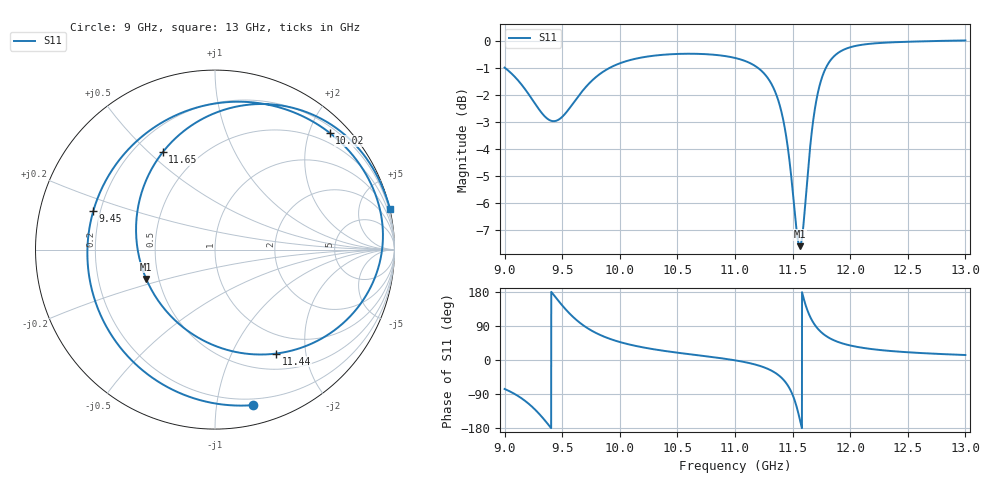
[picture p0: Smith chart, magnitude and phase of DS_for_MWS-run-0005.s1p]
! TOUCHSTONE file generated by CST DESIGN STUDIO
! Date and time: Tue Feb  4 17:51:52 2025
! Project name: C:\Work\MatlabApps\UnitCellOptimizationMatlab\CST\unitcell.cst
! Tree item: Tasks\Sweep1\SPara1\S-Parameters
! Header version: 2024
! Port assignment regex: !\s*Touchstone port\s*([0-9]+)\s*=\s*(CST MWS port|CST DES external port|CST DES block port)\s*(.+)\s* \(\"(.*)\"\)(\s*mode\s*([0-9]+))?.*
! Touchstone port assignment:
! Touchstone port 1 = CST DES external port 1 ("")
# GHz S MA R 50
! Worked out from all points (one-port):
!   4001 points, 9 GHz to 13 GHz, reference 50 ohm
!   lowest |S11| = -7.6 dB at 11.56 GHz (marker M1), VSWR 2.43, Z = 21.3 - j8.4 ohm
!   |S11| at or under -10 dB: nowhere
!   S11 on the Smith chart (normalised r, x): 9 GHz: 0.15, -1.26; 9.45 GHz: 0.17, +0.15; 10.02 GHz: 0.30, +2.35; 11.44 GHz: 0.71, -1.50; 11.65 GHz: 0.32, +0.55; 13 GHz: -0.04, +8.67
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9  0.8917 -76.4
9.128  0.839 -97.2
9.229  0.7847 -120.7
9.351  0.7235 -159.9
9.45  0.7113 162.6
9.5  0.723 144.0
9.591  0.7639 114.6
9.689  0.8135 90.2
9.836  0.8705 65.2
10  0.9081 47.4
10.022  0.9116 45.6
10.228  0.9339 31.8
10.5  0.9451 19.3
11  0.9292 -0.8
11.285  0.8526 -23.4
11.371  0.781 -38.4
11.441  0.672 -59.5
11.5  0.5295 -91.8
11.531  0.4531 -119.2
11.563  0.4168 -157.0
11.602  0.4764 156.0
11.646  0.6158 118.2
11.711  0.7853 85.4
11.804  0.9031 60.7
11.89  0.9477 48.1
12  0.9724 38.3
12.5  0.9955 20.4
13  1.001 13.2
